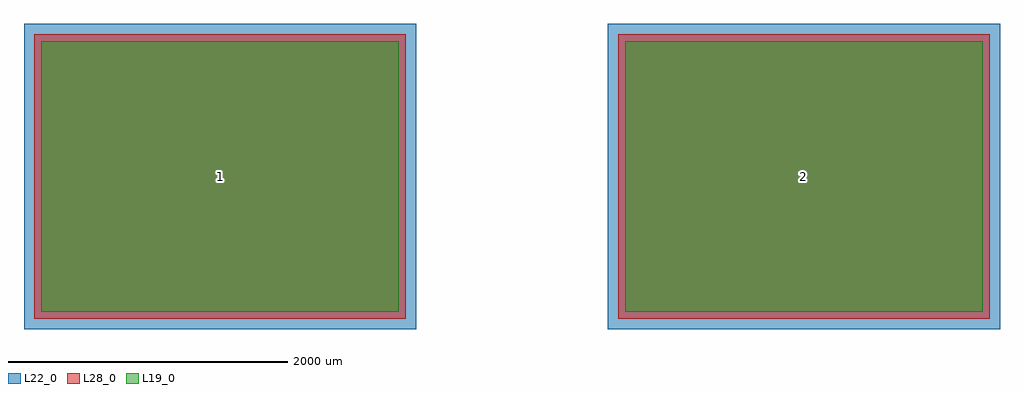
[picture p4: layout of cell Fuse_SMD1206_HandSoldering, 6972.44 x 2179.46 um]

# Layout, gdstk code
import gdstk
lib = gdstk.Library(unit=1e-6, precision=1e-09)
def R(c, l, rs):  # rectangles x0, y0, x1, y1
    for r in rs: c.add(gdstk.rectangle(r[:2], r[2:], *l))
L19_0 = (19, 0)
L22_0 = (22, 0)
L28_0 = (28, 0)

fuse_smd1206_handsolderi = lib.new_cell('Fuse_SMD1206_HandSoldering')
R(fuse_smd1206_handsolderi, L19_0, [(-3361.22,-964.73,-809.46,964.73), (809.46,-964.73,3361.22,964.73)])
R(fuse_smd1206_handsolderi, L22_0, [(-3486.22,-1089.73,-684.46,1089.73), (684.46,-1089.73,3486.22,1089.73)])
R(fuse_smd1206_handsolderi, L28_0, [(-3411.22,-1014.73,-759.46,1014.73), (759.46,-1014.73,3411.22,1014.73)])
fuse_smd1206_handsolderi.add(gdstk.Label('2', (2085.34,0), layer=28, texttype=0))
fuse_smd1206_handsolderi.add(gdstk.Label('1', (-2085.34,0), layer=28, texttype=0))
fuse_smd1206_handsolderi.add(gdstk.Label('type', (-149.86,-2499.36), layer=9, texttype=0))
fuse_smd1206_handsolderi.add(gdstk.Label('devicename', (-50.8,2199.64), layer=9, texttype=0))

lib.write_gds('Fuse_SMD1206_HandSoldering.gds')
